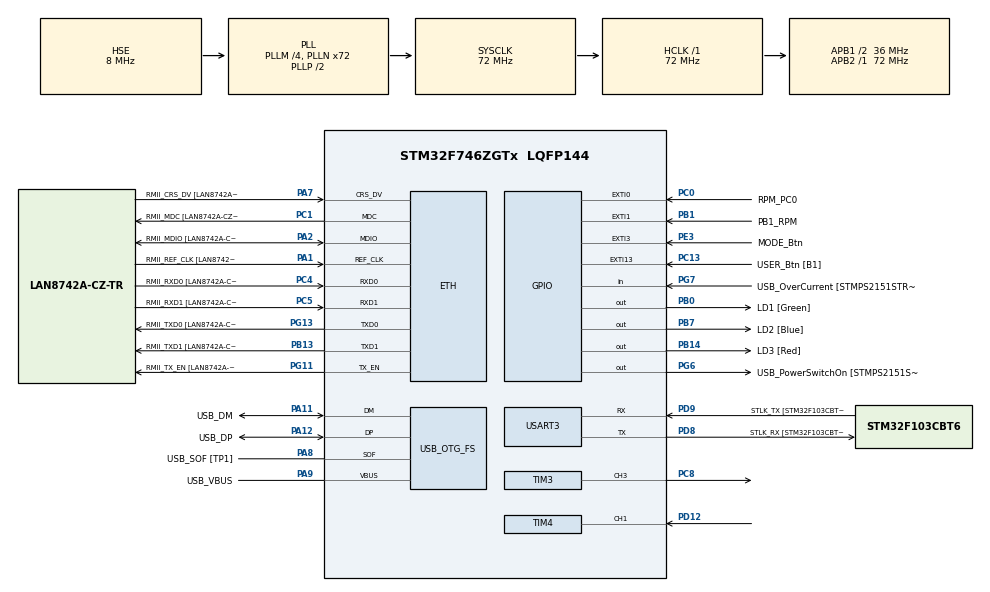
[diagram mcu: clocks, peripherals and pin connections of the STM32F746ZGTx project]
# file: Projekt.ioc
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ETH.MediaInterface=HAL_ETH_RMII_MODE
ETH.PHY_Name=LAN8742A_PHY_ADDRESS
ETH.PHY_Value=0
ETH.PhyAddress=0
Mcu.Family=STM32F7
Mcu.Name=STM32F746ZGTx
Mcu.Package=LQFP144
NVIC.EXTI0_IRQn=true\:0\:0\:false\:false\:true\:true\:true\:true
NVIC.EXTI15_10_IRQn=true\:0\:0\:false\:false\:true\:true\:true\:true
NVIC.EXTI1_IRQn=true\:0\:0\:false\:false\:true\:true\:true\:true
NVIC.EXTI3_IRQn=true\:0\:0\:false\:false\:true\:true\:true\:true
NVIC.PriorityGroup=NVIC_PRIORITYGROUP_4
NVIC.TIM1_BRK_TIM9_IRQn=true\:0\:0\:false\:false\:true\:true\:true\:true
NVIC.TIM2_IRQn=true\:0\:0\:false\:false\:true\:true\:true\:true
NVIC.TIM4_IRQn=true\:0\:0\:false\:false\:true\:true\:true\:true
NVIC.TIM5_IRQn=true\:0\:0\:false\:false\:true\:true\:true\:true
NVIC.USART3_IRQn=true\:0\:0\:false\:false\:true\:true\:true\:true
PA1.GPIO_Label=RMII_REF_CLK [LAN8742A-CZ-TR_REFCLK0]
PA1.Mode=RMII
PA1.Signal=ETH_REF_CLK
PA10.GPIO_Label=USB_ID
PA10.Signal=USB_OTG_FS_ID
PA11.GPIO_Label=USB_DM
PA11.Mode=Device_Only
PA11.Signal=USB_OTG_FS_DM
PA12.GPIO_Label=USB_DP
PA12.Mode=Device_Only
PA12.Signal=USB_OTG_FS_DP
PA13.GPIO_Label=TMS
PA13.Mode=Serial_Wire
PA13.Signal=SYS_JTMS-SWDIO
PA14.GPIO_Label=TCK
PA14.Mode=Serial_Wire
PA14.Signal=SYS_JTCK-SWCLK
PA2.GPIO_Label=RMII_MDIO [LAN8742A-CZ-TR_MDIO]
PA2.Mode=RMII
PA2.Signal=ETH_MDIO
PA7.GPIO_Label=RMII_CRS_DV [LAN8742A-CZ-TR_CRS_DV]
PA7.Mode=RMII
PA7.Signal=ETH_CRS_DV
PA8.GPIO_Label=USB_SOF [TP1]
PA8.Mode=Activate_SOF_FS
PA8.Signal=USB_OTG_FS_SOF
PA9.GPIO_Label=USB_VBUS
PA9.Mode=Activate_VBUS
PA9.Signal=USB_OTG_FS_VBUS
PB0.GPIO_Label=LD1 [Green]
PB0.Signal=GPIO_Output
PB1.GPIO_Label=PB1_RPM
PB1.Signal=GPXTI1
PB13.GPIO_Label=RMII_TXD1 [LAN8742A-CZ-TR_TXD1]
PB13.Mode=RMII
PB13.Signal=ETH_TXD1
PB14.GPIO_Label=LD3 [Red]
PB14.Signal=GPIO_Output
PB3.GPIO_Label=SW0
PB3.Signal=SYS_JTDO-SWO
PB7.GPIO_Label=LD2 [Blue]
PB7.Signal=GPIO_Output
PC0.GPIO_Label=RPM_PC0
PC0.Signal=GPXTI0
PC1.GPIO_Label=RMII_MDC [LAN8742A-CZ-TR_MDC]
PC1.Mode=RMII
PC1.Signal=ETH_MDC
PC13.GPIO_Label=USER_Btn [B1]
PC13.Signal=GPXTI13
PC14/OSC32_IN.Mode=LSE-External-Oscillator
PC14/OSC32_IN.Signal=RCC_OSC32_IN
PC15/OSC32_OUT.Mode=LSE-External-Oscillator
PC15/OSC32_OUT.Signal=RCC_OSC32_OUT
PC4.GPIO_Label=RMII_RXD0 [LAN8742A-CZ-TR_RXD0]
PC4.Mode=RMII
PC4.Signal=ETH_RXD0
PC5.GPIO_Label=RMII_RXD1 [LAN8742A-CZ-TR_RXD1]
PC5.Mode=RMII
PC5.Signal=ETH_RXD1
PC8.Signal=S_TIM3_CH3
PD12.GPIO_PuPd=GPIO_PULLUP
PD12.Signal=S_TIM4_CH1
PD8.GPIO_Label=STLK_RX [STM32F103CBT6_PA3]
PD8.GPIO_PuPd=GPIO_PULLUP
PD8.Mode=Asynchronous
PD8.Signal=USART3_TX
PD9.GPIO_Label=STLK_TX [STM32F103CBT6_PA2]
PD9.GPIO_PuPd=GPIO_PULLUP
PD9.Mode=Asynchronous
PD9.Signal=USART3_RX
PE3.GPIO_Label=MODE_Btn
PE3.GPIO_PuPd=GPIO_PULLDOWN
PE3.Signal=GPXTI3
PG11.GPIO_Label=RMII_TX_EN [LAN8742A-CZ-TR_TXEN]
PG11.Mode=RMII
PG11.Signal=ETH_TX_EN
PG13.GPIO_Label=RMII_TXD0 [LAN8742A-CZ-TR_TXD0]
PG13.Mode=RMII
PG13.Signal=ETH_TXD0
PG6.GPIO_Label=USB_PowerSwitchOn [STMPS2151STR_EN]
PG6.Signal=GPIO_Output
PG7.GPIO_Label=USB_OverCurrent [STMPS2151STR_FAULT]
PG7.Signal=GPIO_Input
PH0/OSC_IN.GPIO_Label=MCO [STM32F103CBT6_PA8]
PH0/OSC_IN.Mode=HSE-External-Clock-Source
PH0/OSC_IN.Signal=RCC_OSC_IN
PH1/OSC_OUT.Mode=HSE-External-Clock-Source
PH1/OSC_OUT.Signal=RCC_OSC_OUT
ProjectManager.HeapSize=0x200
ProjectManager.StackSize=0x400
ProjectManager.TargetToolchain=STM32CubeIDE
RCC.48MHZClocksFreq_Value=24000000
RCC.AHBFreq_Value=72000000
RCC.APB1CLKDivider=RCC_HCLK_DIV2
RCC.APB1Freq_Value=36000000
RCC.APB1TimFreq_Value=72000000
RCC.APB2Freq_Value=72000000
RCC.APB2TimFreq_Value=72000000
RCC.CortexFreq_Value=72000000
RCC.HCLKFreq_Value=72000000
RCC.HSE_VALUE=8000000
RCC.HSI_VALUE=16000000
RCC.PLLM=4
RCC.PLLMUL=RCC_PLL_MUL9
RCC.PLLN=72
RCC.PLLQ=3
RCC.PRESCALERUSB=RCC_USBCLKSOURCE_PLL_DIV1_5
RCC.SYSCLKFreq_VALUE=72000000
RCC.SYSCLKSource=RCC_SYSCLKSOURCE_PLLCLK
RCC.SYSCLKSourceVirtual=RCC_SYSCLKSOURCE_PLLCLK
RCC.USBFreq_Value=48000000
RCC.VCOOutputFreq_Value=144000000
SH.S_TIM3_CH3.0=TIM3_CH3,PWM Generation3 CH3
SH.S_TIM4_CH1.0=TIM4_CH1,Input_Capture1_from_TI1
TIM2.Period=99
TIM2.Prescaler=71
TIM3.Channel-PWM\ Generation3\ CH3=TIM_CHANNEL_3
TIM3.Period=39
TIM3.Prescaler=71
TIM3.Pulse-PWM\ Generation3\ CH3=20
TIM4.Channel-Input_Capture1_from_TI1=TIM_CHANNEL_1
TIM4.Period=0xffff
TIM4.Prescaler=71
TIM5.Period=7999
TIM5.Prescaler=14399
TIM9.Period=9999
TIM9.Prescaler=7199
USART3.VirtualMode-Asynchronous=VM_ASYNC
USB_OTG_FS.VirtualMode=Device_Only
VP_TIM2_VS_ClockSourceINT.Mode=Internal
VP_TIM4_VS_ClockSourceINT.Mode=Internal
VP_TIM5_VS_ClockSourceINT.Mode=Internal
VP_TIM9_VS_ClockSourceINT.Mode=Internal
board=NUCLEO-F746ZG

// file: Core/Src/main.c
/* USER CODE BEGIN Header */
/**
 ******************************************************************************
 * @file           : main.c
 * @brief          : Main program body
 ******************************************************************************
 * @attention
 *
 * Copyright (c) 2024 STMicroelectronics.
 * All rights reserved.
 *
 * This software is licensed under terms that can be found in the LICENSE file
 * in the root directory of this software component.
 * If no LICENSE file comes with this software, it is provided AS-IS.
 *
 ******************************************************************************
 */
/* USER CODE END Header */
#include "main.h"
#include "string.h"

/* USER CODE BEGIN Includes */
#include "LiquidCrystal.h"
#include <stdio.h>
#include <stdlib.h>
#include <time.h>
#include "string.h"
/* USER CODE END Includes */

#if defined ( __ICCARM__ ) /*!< IAR Compiler */
#pragma location=0x2004c000
ETH_DMADescTypeDef  DMARxDscrTab[ETH_RX_DESC_CNT]; /* Ethernet Rx DMA Descriptors */
#pragma location=0x2004c0a0
ETH_DMADescTypeDef  DMATxDscrTab[ETH_TX_DESC_CNT]; /* Ethernet Tx DMA Descriptors */

#elif defined ( __CC_ARM )  /* MDK ARM Compiler */

__attribute__((at(0x2004c000))) ETH_DMADescTypeDef  DMARxDscrTab[ETH_RX_DESC_CNT]; /* Ethernet Rx DMA Descriptors */
__attribute__((at(0x2004c0a0))) ETH_DMADescTypeDef  DMATxDscrTab[ETH_TX_DESC_CNT]; /* Ethernet Tx DMA Descriptors */

#elif defined ( __GNUC__ ) /* GNU Compiler */
ETH_DMADescTypeDef DMARxDscrTab[ETH_RX_DESC_CNT] __attribute__((section(".RxDecripSection"))); /* Ethernet Rx DMA Descriptors */
ETH_DMADescTypeDef DMATxDscrTab[ETH_TX_DESC_CNT] __attribute__((section(".TxDecripSection")));   /* Ethernet Tx DMA Descriptors */

#endif

ETH_TxPacketConfig TxConfig;

ETH_HandleTypeDef heth;

TIM_HandleTypeDef htim2;
TIM_HandleTypeDef htim3;
TIM_HandleTypeDef htim4;
TIM_HandleTypeDef htim5;
TIM_HandleTypeDef htim9;

UART_HandleTypeDef huart3;

PCD_HandleTypeDef hpcd_USB_OTG_FS;

/* USER CODE BEGIN PV */

//input capture
// Zmienna do przechowywania ostatniej wartości TIM  input capture
uint32_t last_capture = 0;

float W_rpm = 0.0f;       //predkosc RPM
int W_rpm_setpoint = 0;	  //RPM setpoint
int W_RPM_terminal = 0;   //RPM z termianal
int MAX_RPM = 15000;	  //Ograniczenie MAX_RPM
int MIN_RPM = 1000;		  //Ograniczenie MIN_RPM (nieuzywane; do SWV)

float measuredValue = 0.0f; //wartosc zmierzona z TACHO wiatraka w PID

float error = 0.0f;
float prevError = 0.0f;   // Poprzedni błąd
float integral = 0.0f;    // Część całkowa
float derivative = 0.f;   // Część pochodna
float controlValue;       // Wartość sterowania (wypelnienie PWM)

float Kp = 0.1f;		  //wzmocnienie Kp
float Ki = 0.05f;		  //wzmocnienie Ki
float Kd = 0.1f; 		  ////wzmocnienie Kd

//Zmienne do odbierania danych z terminala
#define RX_BUFFER_SIZE 64
char rxBuffer[RX_BUFFER_SIZE];
int rxIndex = 0;
int newDataFlag = 0;
int ret = 0;

_Bool tim5_tick = 0;
_Bool clear_screan_flag = 1;
int screen_number = 0;
int test_rpm;

int usart_Mode = 0;
_Bool matlab_Sent = 0;

struct string_pair {
	char line1[16];
	char line2[16];
};

/* USER CODE END PV */

void SystemClock_Config(void);
static void MX_GPIO_Init(void);
static void MX_ETH_Init(void);
static void MX_USART3_UART_Init(void);
static void MX_USB_OTG_FS_PCD_Init(void);
static void MX_TIM3_Init(void);
static void MX_TIM2_Init(void);
static void MX_TIM4_Init(void);
static void MX_TIM5_Init(void);
static void MX_TIM9_Init(void);

/* USER CODE BEGIN 0 */

void PID_Control() {
	// Odczytaj aktualne RPM wiatraka
	float MAX_INTEGRAL = 40.0f;
	float MIN_INTEGRAL = 0.0f;
	float MIN_PWM = 0.0f;
	float MAX_PWM = 40.0f;

	measuredValue = W_rpm;

	// błąd
	error = (float) W_rpm_setpoint - measuredValue;

	// całka z ograniczeniem
	integral += error * Ki;
	// Ograniczenie całki ANITI_WINDUP (bez tego uklad sie destabilizuje)
	if (integral > MAX_INTEGRAL)
		integral = MAX_INTEGRAL;
	else if (integral < MIN_INTEGRAL)
		integral = MIN_INTEGRAL;

	// pochodną
	derivative = (error - prevError) * Kd;

	// wartość sterowania
	controlValue = Kp * error + integral + derivative;

	// Ograniczenie wartości sterowania do dopuszczalnego zakresu PWM

	if (controlValue < MIN_PWM)
		controlValue = MIN_PWM;

	else if (controlValue > MAX_PWM)
		controlValue = MAX_PWM;

	// Aktualizuj PWM wiatraka
	__HAL_TIM_SET_COMPARE(&htim3, TIM_CHANNEL_3, (uint32_t )controlValue);

	// Zaktualizuj poprzedni błąd
	prevError = error;
}

void HAL_TIM_PeriodElapsedCallback(TIM_HandleTypeDef *htim) {

	if (htim == &htim2) {
		PID_Control();
	}

	//jacek
	if (htim->Instance == TIM5) {
		HAL_GPIO_TogglePin(LD1_GPIO_Port, LD1_Pin);
		tim5_tick = 1;
	}

	if(htim = &htim9 && usart_Mode == 1){
		matlab_Sent = 1;
	}

}

void HAL_TIM_IC_CaptureCallback(TIM_HandleTypeDef *htim) {
	if (htim == &htim4) // Sprawdź, czy to odpowiedni kanał
			{
		// Odczytaj wartość przechwyconą przez timer
		uint32_t current_capture = HAL_TIM_ReadCapturedValue(htim,
				TIM_CHANNEL_1);
		float diffCapture = 0.f;

		// Oblicz różnicę czasów między bieżącym a poprzednim impulsem
		if (current_capture > last_capture) {
			diffCapture = current_capture - last_capture;
		}

		else if (current_capture < last_capture) {
			//Obsługa przepełnienia timera (jeśli Timer jest 16-bitowy i przekroczył maksymalną wartość)
			diffCapture = ((0xffff - last_capture) + current_capture);
		}
		// Aktualizacja 'last_capture' dla następnego przechwycenia
		last_capture = current_capture;

		// czestotliwosc sygnalu(impulsow z wiatraka)
		float k = 1.0f / diffCapture;
		//float k = HAL_RCC_GetPCLK1Freq()/diffCapture; (niepotrzebne)
		//*1000000, bo PSC = 71 f->1[MHz] * 60, bo [rpm] /2,bo dwa impulsy na obrót
		W_rpm = k * 1000000 * 60 / 2;
	}
}

//void HAL_UART_RxCpltCallback(UART_HandleTypeDef *huart) {
//	if (huart->Instance == USART3) {
//		// Sprawdź, czy otrzymano znak końca linii.
//		if (rxBuffer[rxIndex] == '\n') {
//			// Zakończ łańcuch znaków przed znakiem nowej linii, aby utworzyć poprawny string C.
//			rxBuffer[rxIndex] = '\0';
//			// Użyj formatu, który ignoruje niechciane znaki przed liczbą.
//			if (sscanf(rxBuffer, "RPM%d", &W_RPM_terminal) == 1) {
//				//ograniczenie do bezpiecznego zakresu sterowania
//				if (W_RPM_terminal < 2000) {
//					W_RPM_terminal = 2000;
//				} else if (W_RPM_terminal > 15000) {
//					W_RPM_terminal = 15000;
//				}
//				W_rpm_setpoint = W_RPM_terminal;
//				// Wyczyszczenie bufora po pomyślnym odczycie.
//				memset(rxBuffer, 0, sizeof(rxBuffer));
//				// Resetowanie indeksu bufora.
//				rxIndex = 0;
//				// Ustaw flagę oznaczającą dostępność nowych danych.
//				newDataFlag = 1;
//			} else {
//				// Obsługa błędów w przypadku niepowodzenia odczytu.
//			}
//		} else {
//			// Upewnij się, że nie przekroczysz rozmiaru bufora.
//			if (rxIndex < RX_BUFFER_SIZE - 1) {
//				rxIndex++;
//			} else {
//				// Obsługa błędów w przypadku przekroczenia bufora.
//			}
//		}
//
//		// Ponowne włączenie odbierania przerwań z następnym bajtem w buforze.
//		HAL_UART_Receive_IT(&huart3, (uint8_t*) &rxBuffer[rxIndex], 1);
//	}
//}

void sendToMatlab(float measuredValue, int W_rpm_setpoint, float controlValue) {
    char buffer[50];
    int n = sprintf(buffer, "%f,%d,%f\n", measuredValue, W_rpm_setpoint, controlValue);
    HAL_UART_Transmit(&huart3, (uint8_t*)buffer, n, 100);
}

void HAL_UART_RxCpltCallback(UART_HandleTypeDef *huart) {

    if (huart->Instance == USART3) {
    	if(usart_Mode == 0){
    		// Sprawdź, czy otrzymano znak końca linii.
    		if (rxBuffer[rxIndex] == '\n') {
    			// Zakończ łańcuch znaków przed znakiem nowej linii, aby utworzyć poprawny string C.
    			rxBuffer[rxIndex] = '\0';
    			// Użyj formatu, który ignoruje niechciane znaki przed liczbą.
    			if (sscanf(rxBuffer, "RPM%d", &W_RPM_terminal) == 1) {
    				//ograniczenie do bezpiecznego zakresu sterowania
    				if (W_RPM_terminal < 2000) {
    					W_RPM_terminal = 2000;
    				} else if (W_RPM_terminal > 15000) {
    					W_RPM_terminal = 15000;
    				}
    				W_rpm_setpoint = W_RPM_terminal;
    				// Wyczyszczenie bufora po pomyślnym odczycie.
    				memset(rxBuffer, 0, sizeof(rxBuffer));
    				// Resetowanie indeksu bufora.
    				rxIndex = 0;
    				// Ustaw flagę oznaczającą dostępność nowych danych.
    				newDataFlag = 1;
    			} else {
    				// Obsługa błędów w przypadku niepowodzenia odczytu.
    			}
    		} else {
    			// Upewnij się, że nie przekroczysz rozmiaru bufora.
    			if (rxIndex < RX_BUFFER_SIZE - 1) {
    				rxIndex++;
    			} else {
    				// Obsługa błędów w przypadku przekroczenia bufora.
    			}
    		}

    		// Ponowne włączenie odbierania przerwań z następnym bajtem w buforze.
    		HAL_UART_Receive_IT(&huart3, (uint8_t*) &rxBuffer[rxIndex], 1);
    	}
    	if(usart_Mode == 1){
            // Sprawdź, czy otrzymano znak końca linii.
            if (rxBuffer[rxIndex] == '\n') {
                // Zakończ łańcuch znaków przed znakiem nowej linii, aby utworzyć poprawny string C.
                rxBuffer[rxIndex] = '\0';
                // Tymczasowe zmienne do przechowywania przetworzonych wartości
                int temp_rpm;
                float temp_kp, temp_ki, temp_kd;

                // Przetwarzanie otrzymanych danych
                if (sscanf(rxBuffer, "SET:%d:%f:%f:%f", &temp_rpm, &temp_kp, &temp_ki, &temp_kd) == 4) {
                    // Przypisz przetworzone wartości do zmiennych globalnych
                    W_rpm_setpoint = temp_rpm;
                    Kp = temp_kp;
                    Ki = temp_ki;
                    Kd = temp_kd;

                    // Wyczyszczenie bufora po pomyślnym odczycie
                    memset(rxBuffer, 0, sizeof(rxBuffer));
                    // Resetowanie indeksu bufora
                    rxIndex = 0;
                    // Ustaw flagę oznaczającą dostępność nowych danych
                    newDataFlag = 1;
                } else {
                    // Obsługa błędów w przypadku niepowodzenia odczytu
                    // Możesz tutaj dodać własną logikę obsługi błędów
                }
            } else {
                // Upewnij się, że nie przekroczysz rozmiaru bufora
                if (rxIndex < RX_BUFFER_SIZE - 1) {
                    rxIndex++;
                } else {
                    // Obsługa błędów w przypadku przekroczenia bufora
                    // Możesz tutaj dodać własną logikę obsługi błędów
                }
            }

            // Ponowne włączenie odbierania przerwań z następnym bajtem w buforze
            HAL_UART_Receive_IT(&huart3, (uint8_t *)&rxBuffer[rxIndex], 1);
    	}

    }
}

void test(){}

//jacek
void HAL_GPIO_EXTI_Callback(uint16_t GPIO_Pin) {
	if (GPIO_Pin == MODE_Btn_Pin) {
		if (HAL_GPIO_ReadPin(MODE_Btn_GPIO_Port, MODE_Btn_Pin)) {
			screen_number++;
			if (screen_number == 3)
				screen_number = 0;
			clear_screan_flag = 1;
		}
	}

	if(GPIO_Pin == USER_Btn_Pin){
		usart_Mode ++;
		if(usart_Mode == 3){
			usart_Mode = 0;
		}
	}
}

void SysTick_Handler(void);

void DisplayActualInfo(const char line1[], const char line2[]) {
	setCursor(0, 0);
	print(line1);
	setCursor(0, 1);
	print(line2);
}

void ShowInfo(char line1[], char line2[], int value) {
	static int string_len = 16;

	char string[16] = "";

	sprintf(string, line2, value);
	DisplayActualInfo(line1, string);
}

void Autorzy() {
	struct string_pair list[4] = { { "Autorzy", "Projektu" }, { "Mateusz",
			"Szumigalski" }, { "Jacek", "Szwed" }, { "Jakub", "Szymczak" } };
	static int num = 0;
	clear();
	DisplayActualInfo(list[num].line1, list[num].line2);
	if (num == 3)
		num = 0;
	else
		num++;
}

/* USER CODE END 0 */

int main(void)
{

  /* MCU Configuration--------------------------------------------------------*/

  /* Reset of all peripherals, Initializes the Flash interface and the Systick. */
  HAL_Init();

  /* USER CODE BEGIN Init */
	//jacek
	LiquidCrystal(GPIOD, GPIO_PIN_0, GPIO_PIN_1, GPIO_PIN_2, GPIO_PIN_3,
				GPIO_PIN_4, GPIO_PIN_5, GPIO_PIN_6);

  /* USER CODE END Init */

  /* Configure the system clock */
  SystemClock_Config();

  /* Initialize all configured peripherals */
  MX_GPIO_Init();
  MX_ETH_Init();
  MX_USART3_UART_Init();
  MX_USB_OTG_FS_PCD_Init();
  MX_TIM3_Init();
  MX_TIM2_Init();
  MX_TIM4_Init();
  MX_TIM5_Init();
  MX_TIM9_Init();
  /* USER CODE BEGIN 2 */
	HAL_TIM_PWM_Start(&htim3, TIM_CHANNEL_3);
	HAL_TIM_Base_Start_IT(&htim2);
	HAL_TIM_IC_Start_IT(&htim4, TIM_CHANNEL_1);

	//uruchomienie przerwania od otrzymania wiadomosci z terminala
	HAL_UART_Receive_IT(&huart3, (uint8_t*) &rxBuffer[rxIndex], 1);

	//__HAL_TIM_SET_COMPARE(&htim3, TIM_CHANNEL_3, 10);
	HAL_TIM_Base_Start_IT(&htim9);
	//jacek
	HAL_TIM_Base_Start_IT(&htim5);

  /* USER CODE END 2 */

  /* Infinite loop */
  /* USER CODE BEGIN WHILE */
	while (1) {
		if (tim5_tick) {
					if (clear_screan_flag) {
						clear();
						clear_screan_flag = 0;
					}

					switch (screen_number) {
					case 0:
						test_rpm = (measuredValue);
						ShowInfo("Speed:", "%i RPM   ",test_rpm);
						break;
					case 1:
						test_rpm = (measuredValue);
						ShowInfo("Usart Mode:", "%i   ",usart_Mode);
						break;
					case 2:
						Autorzy();
						break;
					default:
						break;
					}
					tim5_tick = 0;
				}

		if(matlab_Sent){
			sendToMatlab(measuredValue, W_rpm_setpoint, controlValue);
			matlab_Sent = 0;
		}

    /* USER CODE END WHILE */

	}
}

void SystemClock_Config(void)
{
  RCC_OscInitTypeDef RCC_OscInitStruct = {0};
  RCC_ClkInitTypeDef RCC_ClkInitStruct = {0};

  /** Configure LSE Drive Capability
  */
  HAL_PWR_EnableBkUpAccess();

  /** Configure the main internal regulator output voltage
  */
  __HAL_RCC_PWR_CLK_ENABLE();
  __HAL_PWR_VOLTAGESCALING_CONFIG(PWR_REGULATOR_VOLTAGE_SCALE3);

  /** Initializes the RCC Oscillators according to the specified parameters
  * in the RCC_OscInitTypeDef structure.
  */
  RCC_OscInitStruct.OscillatorType = RCC_OSCILLATORTYPE_HSE;
  RCC_OscInitStruct.HSEState = RCC_HSE_BYPASS;
  RCC_OscInitStruct.PLL.PLLState = RCC_PLL_ON;
  RCC_OscInitStruct.PLL.PLLSource = RCC_PLLSOURCE_HSE;
  RCC_OscInitStruct.PLL.PLLM = 4;
  RCC_OscInitStruct.PLL.PLLN = 72;
  RCC_OscInitStruct.PLL.PLLP = RCC_PLLP_DIV2;
  RCC_OscInitStruct.PLL.PLLQ = 3;
  if (HAL_RCC_OscConfig(&RCC_OscInitStruct) != HAL_OK)
  {
    Error_Handler();
  }

  /** Initializes the CPU, AHB and APB buses clocks
  */
  RCC_ClkInitStruct.ClockType = RCC_CLOCKTYPE_HCLK|RCC_CLOCKTYPE_SYSCLK
                              |RCC_CLOCKTYPE_PCLK1|RCC_CLOCKTYPE_PCLK2;
  RCC_ClkInitStruct.SYSCLKSource = RCC_SYSCLKSOURCE_PLLCLK;
  RCC_ClkInitStruct.AHBCLKDivider = RCC_SYSCLK_DIV1;
  RCC_ClkInitStruct.APB1CLKDivider = RCC_HCLK_DIV2;
  RCC_ClkInitStruct.APB2CLKDivider = RCC_HCLK_DIV1;

  if (HAL_RCC_ClockConfig(&RCC_ClkInitStruct, FLASH_LATENCY_2) != HAL_OK)
  {
    Error_Handler();
  }
}

static void MX_ETH_Init(void)
{

   static uint8_t MACAddr[6];

  heth.Instance = ETH;
  MACAddr[0] = 0x00;
  MACAddr[1] = 0x80;
  MACAddr[2] = 0xE1;
  MACAddr[3] = 0x00;
  MACAddr[4] = 0x00;
  MACAddr[5] = 0x00;
  heth.Init.MACAddr = &MACAddr[0];
  heth.Init.MediaInterface = HAL_ETH_RMII_MODE;
  heth.Init.TxDesc = DMATxDscrTab;
  heth.Init.RxDesc = DMARxDscrTab;
  heth.Init.RxBuffLen = 1524;

  if (HAL_ETH_Init(&heth) != HAL_OK)
  {
    Error_Handler();
  }

  memset(&TxConfig, 0 , sizeof(ETH_TxPacketConfig));
  TxConfig.Attributes = ETH_TX_PACKETS_FEATURES_CSUM | ETH_TX_PACKETS_FEATURES_CRCPAD;
  TxConfig.ChecksumCtrl = ETH_CHECKSUM_IPHDR_PAYLOAD_INSERT_PHDR_CALC;
  TxConfig.CRCPadCtrl = ETH_CRC_PAD_INSERT;

}

static void MX_TIM2_Init(void)
{

  TIM_ClockConfigTypeDef sClockSourceConfig = {0};
  TIM_MasterConfigTypeDef sMasterConfig = {0};

  htim2.Instance = TIM2;
  htim2.Init.Prescaler = 71;
  htim2.Init.CounterMode = TIM_COUNTERMODE_UP;
  htim2.Init.Period = 99;
  htim2.Init.ClockDivision = TIM_CLOCKDIVISION_DIV1;
  htim2.Init.AutoReloadPreload = TIM_AUTORELOAD_PRELOAD_DISABLE;
  if (HAL_TIM_Base_Init(&htim2) != HAL_OK)
  {
    Error_Handler();
  }
  sClockSourceConfig.ClockSource = TIM_CLOCKSOURCE_INTERNAL;
  if (HAL_TIM_ConfigClockSource(&htim2, &sClockSourceConfig) != HAL_OK)
  {
    Error_Handler();
  }
  sMasterConfig.MasterOutputTrigger = TIM_TRGO_RESET;
  sMasterConfig.MasterSlaveMode = TIM_MASTERSLAVEMODE_DISABLE;
  if (HAL_TIMEx_MasterConfigSynchronization(&htim2, &sMasterConfig) != HAL_OK)
  {
    Error_Handler();
  }

}

static void MX_TIM3_Init(void)
{

  TIM_MasterConfigTypeDef sMasterConfig = {0};
  TIM_OC_InitTypeDef sConfigOC = {0};

  htim3.Instance = TIM3;
  htim3.Init.Prescaler = 71;
  htim3.Init.CounterMode = TIM_COUNTERMODE_UP;
  htim3.Init.Period = 39;
  htim3.Init.ClockDivision = TIM_CLOCKDIVISION_DIV1;
  htim3.Init.AutoReloadPreload = TIM_AUTORELOAD_PRELOAD_DISABLE;
  if (HAL_TIM_PWM_Init(&htim3) != HAL_OK)
  {
    Error_Handler();
  }
  sMasterConfig.MasterOutputTrigger = TIM_TRGO_RESET;
  sMasterConfig.MasterSlaveMode = TIM_MASTERSLAVEMODE_DISABLE;
  if (HAL_TIMEx_MasterConfigSynchronization(&htim3, &sMasterConfig) != HAL_OK)
  {
    Error_Handler();
  }
  sConfigOC.OCMode = TIM_OCMODE_PWM1;
  sConfigOC.Pulse = 20;
  sConfigOC.OCPolarity = TIM_OCPOLARITY_HIGH;
  sConfigOC.OCFastMode = TIM_OCFAST_DISABLE;
  if (HAL_TIM_PWM_ConfigChannel(&htim3, &sConfigOC, TIM_CHANNEL_3) != HAL_OK)
  {
    Error_Handler();
  }
  HAL_TIM_MspPostInit(&htim3);

}

static void MX_TIM4_Init(void)
{

  TIM_ClockConfigTypeDef sClockSourceConfig = {0};
  TIM_MasterConfigTypeDef sMasterConfig = {0};
  TIM_IC_InitTypeDef sConfigIC = {0};

  htim4.Instance = TIM4;
  htim4.Init.Prescaler = 71;
  htim4.Init.CounterMode = TIM_COUNTERMODE_UP;
  htim4.Init.Period = 0xffff;
  htim4.Init.ClockDivision = TIM_CLOCKDIVISION_DIV1;
  htim4.Init.AutoReloadPreload = TIM_AUTORELOAD_PRELOAD_DISABLE;
  if (HAL_TIM_Base_Init(&htim4) != HAL_OK)
  {
    Error_Handler();
  }
  sClockSourceConfig.ClockSource = TIM_CLOCKSOURCE_INTERNAL;
  if (HAL_TIM_ConfigClockSource(&htim4, &sClockSourceConfig) != HAL_OK)
  {
    Error_Handler();
  }
  if (HAL_TIM_IC_Init(&htim4) != HAL_OK)
  {
    Error_Handler();
  }
  sMasterConfig.MasterOutputTrigger = TIM_TRGO_RESET;
  sMasterConfig.MasterSlaveMode = TIM_MASTERSLAVEMODE_DISABLE;
  if (HAL_TIMEx_MasterConfigSynchronization(&htim4, &sMasterConfig) != HAL_OK)
  {
    Error_Handler();
  }
  sConfigIC.ICPolarity = TIM_INPUTCHANNELPOLARITY_RISING;
  sConfigIC.ICSelection = TIM_ICSELECTION_DIRECTTI;
  sConfigIC.ICPrescaler = TIM_ICPSC_DIV1;
  sConfigIC.ICFilter = 0;
  if (HAL_TIM_IC_ConfigChannel(&htim4, &sConfigIC, TIM_CHANNEL_1) != HAL_OK)
  {
    Error_Handler();
  }

}

static void MX_TIM5_Init(void)
{

  TIM_ClockConfigTypeDef sClockSourceConfig = {0};
  TIM_MasterConfigTypeDef sMasterConfig = {0};

  htim5.Instance = TIM5;
  htim5.Init.Prescaler = 14399;
  htim5.Init.CounterMode = TIM_COUNTERMODE_UP;
  htim5.Init.Period = 7999;
  htim5.Init.ClockDivision = TIM_CLOCKDIVISION_DIV1;
  htim5.Init.AutoReloadPreload = TIM_AUTORELOAD_PRELOAD_DISABLE;
  if (HAL_TIM_Base_Init(&htim5) != HAL_OK)
  {
    Error_Handler();
  }
  sClockSourceConfig.ClockSource = TIM_CLOCKSOURCE_INTERNAL;
  if (HAL_TIM_ConfigClockSource(&htim5, &sClockSourceConfig) != HAL_OK)
  {
    Error_Handler();
  }
  sMasterConfig.MasterOutputTrigger = TIM_TRGO_RESET;
  sMasterConfig.MasterSlaveMode = TIM_MASTERSLAVEMODE_DISABLE;
  if (HAL_TIMEx_MasterConfigSynchronization(&htim5, &sMasterConfig) != HAL_OK)
  {
    Error_Handler();
  }

}

static void MX_TIM9_Init(void)
{

  TIM_ClockConfigTypeDef sClockSourceConfig = {0};

  htim9.Instance = TIM9;
  htim9.Init.Prescaler = 7199;
  htim9.Init.CounterMode = TIM_COUNTERMODE_UP;
  htim9.Init.Period = 9999;
  htim9.Init.ClockDivision = TIM_CLOCKDIVISION_DIV1;
  htim9.Init.AutoReloadPreload = TIM_AUTORELOAD_PRELOAD_DISABLE;
  if (HAL_TIM_Base_Init(&htim9) != HAL_OK)
  {
    Error_Handler();
  }
  sClockSourceConfig.ClockSource = TIM_CLOCKSOURCE_INTERNAL;
  if (HAL_TIM_ConfigClockSource(&htim9, &sClockSourceConfig) != HAL_OK)
  {
    Error_Handler();
  }

}

static void MX_USART3_UART_Init(void)
{

  huart3.Instance = USART3;
  huart3.Init.BaudRate = 115200;
  huart3.Init.WordLength = UART_WORDLENGTH_8B;
  huart3.Init.StopBits = UART_STOPBITS_1;
  huart3.Init.Parity = UART_PARITY_NONE;
  huart3.Init.Mode = UART_MODE_TX_RX;
  huart3.Init.HwFlowCtl = UART_HWCONTROL_NONE;
  huart3.Init.OverSampling = UART_OVERSAMPLING_16;
  huart3.Init.OneBitSampling = UART_ONE_BIT_SAMPLE_DISABLE;
  huart3.AdvancedInit.AdvFeatureInit = UART_ADVFEATURE_NO_INIT;
  if (HAL_UART_Init(&huart3) != HAL_OK)
  {
    Error_Handler();
  }

}

static void MX_USB_OTG_FS_PCD_Init(void)
{

  hpcd_USB_OTG_FS.Instance = USB_OTG_FS;
  hpcd_USB_OTG_FS.Init.dev_endpoints = 6;
  hpcd_USB_OTG_FS.Init.speed = PCD_SPEED_FULL;
  hpcd_USB_OTG_FS.Init.dma_enable = DISABLE;
  hpcd_USB_OTG_FS.Init.phy_itface = PCD_PHY_EMBEDDED;
  hpcd_USB_OTG_FS.Init.Sof_enable = ENABLE;
  hpcd_USB_OTG_FS.Init.low_power_enable = DISABLE;
  hpcd_USB_OTG_FS.Init.lpm_enable = DISABLE;
  hpcd_USB_OTG_FS.Init.vbus_sensing_enable = ENABLE;
  hpcd_USB_OTG_FS.Init.use_dedicated_ep1 = DISABLE;
  if (HAL_PCD_Init(&hpcd_USB_OTG_FS) != HAL_OK)
  {
    Error_Handler();
  }

}

static void MX_GPIO_Init(void)
{
  GPIO_InitTypeDef GPIO_InitStruct = {0};

  /* GPIO Ports Clock Enable */
  __HAL_RCC_GPIOE_CLK_ENABLE();
  __HAL_RCC_GPIOC_CLK_ENABLE();
  __HAL_RCC_GPIOH_CLK_ENABLE();
  __HAL_RCC_GPIOA_CLK_ENABLE();
  __HAL_RCC_GPIOB_CLK_ENABLE();
  __HAL_RCC_GPIOD_CLK_ENABLE();
  __HAL_RCC_GPIOG_CLK_ENABLE();

  /*Configure GPIO pin Output Level */
  HAL_GPIO_WritePin(GPIOB, LD1_Pin|LD3_Pin|LD2_Pin, GPIO_PIN_RESET);

  /*Configure GPIO pin Output Level */
  HAL_GPIO_WritePin(USB_PowerSwitchOn_GPIO_Port, USB_PowerSwitchOn_Pin, GPIO_PIN_RESET);

  /*Configure GPIO pin : MODE_Btn_Pin */
  GPIO_InitStruct.Pin = MODE_Btn_Pin;
  GPIO_InitStruct.Mode = GPIO_MODE_IT_RISING;
  GPIO_InitStruct.Pull = GPIO_PULLDOWN;
  HAL_GPIO_Init(MODE_Btn_GPIO_Port, &GPIO_InitStruct);

  /*Configure GPIO pins : USER_Btn_Pin RPM_PC0_Pin */
  GPIO_InitStruct.Pin = USER_Btn_Pin|RPM_PC0_Pin;
  GPIO_InitStruct.Mode = GPIO_MODE_IT_RISING;
  GPIO_InitStruct.Pull = GPIO_NOPULL;
  HAL_GPIO_Init(GPIOC, &GPIO_InitStruct);

  /*Configure GPIO pins : LD1_Pin LD3_Pin LD2_Pin */
  GPIO_InitStruct.Pin = LD1_Pin|LD3_Pin|LD2_Pin;
  GPIO_InitStruct.Mode = GPIO_MODE_OUTPUT_PP;
  GPIO_InitStruct.Pull = GPIO_NOPULL;
  GPIO_InitStruct.Speed = GPIO_SPEED_FREQ_LOW;
  HAL_GPIO_Init(GPIOB, &GPIO_InitStruct);

  /*Configure GPIO pin : PB1_RPM_Pin */
  GPIO_InitStruct.Pin = PB1_RPM_Pin;
  GPIO_InitStruct.Mode = GPIO_MODE_IT_RISING;
  GPIO_InitStruct.Pull = GPIO_NOPULL;
  HAL_GPIO_Init(PB1_RPM_GPIO_Port, &GPIO_InitStruct);

  /*Configure GPIO pin : USB_PowerSwitchOn_Pin */
  GPIO_InitStruct.Pin = USB_PowerSwitchOn_Pin;
  GPIO_InitStruct.Mode = GPIO_MODE_OUTPUT_PP;
  GPIO_InitStruct.Pull = GPIO_NOPULL;
  GPIO_InitStruct.Speed = GPIO_SPEED_FREQ_LOW;
  HAL_GPIO_Init(USB_PowerSwitchOn_GPIO_Port, &GPIO_InitStruct);

  /*Configure GPIO pin : USB_OverCurrent_Pin */
  GPIO_InitStruct.Pin = USB_OverCurrent_Pin;
  GPIO_InitStruct.Mode = GPIO_MODE_INPUT;
  GPIO_InitStruct.Pull = GPIO_NOPULL;
  HAL_GPIO_Init(USB_OverCurrent_GPIO_Port, &GPIO_InitStruct);

  /* EXTI interrupt init*/
  HAL_NVIC_SetPriority(EXTI0_IRQn, 0, 0);
  HAL_NVIC_EnableIRQ(EXTI0_IRQn);

  HAL_NVIC_SetPriority(EXTI1_IRQn, 0, 0);
  HAL_NVIC_EnableIRQ(EXTI1_IRQn);

  HAL_NVIC_SetPriority(EXTI3_IRQn, 0, 0);
  HAL_NVIC_EnableIRQ(EXTI3_IRQn);

  HAL_NVIC_SetPriority(EXTI15_10_IRQn, 0, 0);
  HAL_NVIC_EnableIRQ(EXTI15_10_IRQn);

}

void Error_Handler(void)
{
	__disable_irq();
	while (1) {
	}
}
